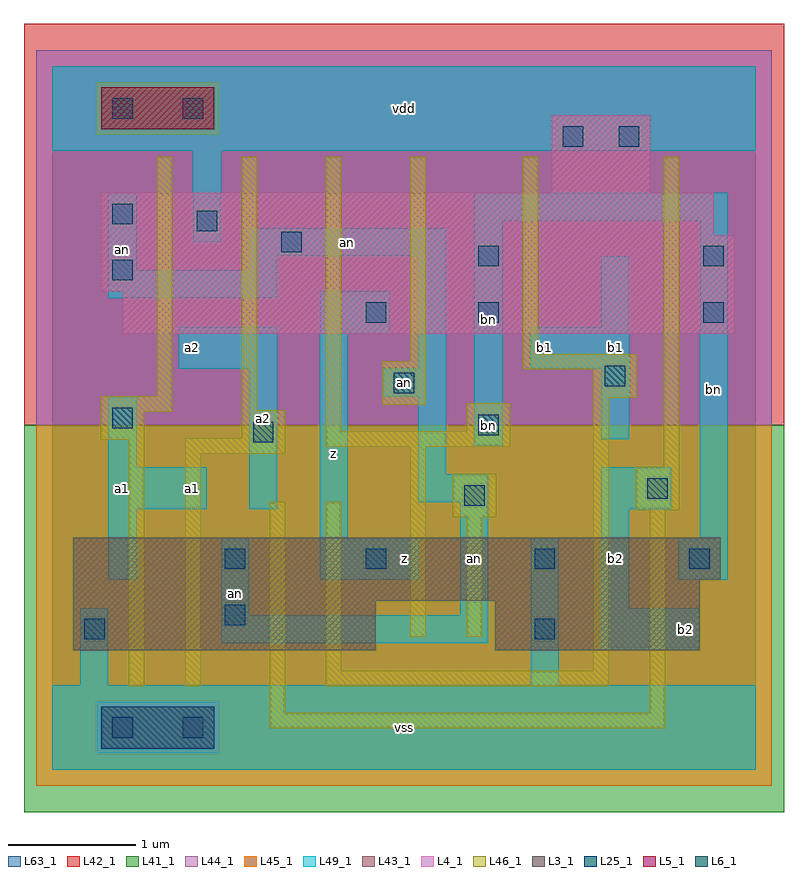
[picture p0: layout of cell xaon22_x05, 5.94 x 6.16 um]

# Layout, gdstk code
import gdstk
lib = gdstk.Library(unit=1e-6, precision=1e-09)
def R(c, l, rs):  # rectangles x0, y0, x1, y1
    for r in rs: c.add(gdstk.rectangle(r[:2], r[2:], *l))
L3_1 = (3, 1)
L4_1 = (4, 1)
L5_1 = (5, 1)
L6_1 = (6, 1)
L25_1 = (25, 1)
L41_1 = (41, 1)
L42_1 = (42, 1)
L43_1 = (43, 1)
L44_1 = (44, 1)
L45_1 = (45, 1)
L46_1 = (46, 1)
L49_1 = (49, 1)
L63_1 = (63, 1)

xaon22_x05 = lib.new_cell('xaon22_x05')
R(xaon22_x05, L3_1, [(0.165,0.935,2.53,1.32), (3.465,0.935,5.06,1.32), (0.165,1.32,5.06,1.485), (0.165,1.485,5.225,1.815)])
R(xaon22_x05, L4_1, [(0.55,3.41,5.335,3.74), (0.385,3.74,5.335,4.18), (0.385,4.18,5.17,4.51), (3.905,4.51,4.675,5.115)])
R(xaon22_x05, L5_1, [(0.385,5.005,1.265,5.335)])
R(xaon22_x05, L6_1, [(0.385,0.165,1.265,0.495)])
R(xaon22_x05, L25_1, [(0.47,0.25,0.63,0.41), (1.02,0.25,1.18,0.41), (0.25,1.02,0.41,1.18), (3.77,1.02,3.93,1.18), (1.35,1.13,1.51,1.29), (1.35,1.57,1.51,1.73), (2.45,1.57,2.61,1.73), (3.77,1.57,3.93,1.73), (4.98,1.57,5.14,1.73), (3.22,2.065,3.38,2.225), (4.65,2.12,4.81,2.28), (1.57,2.56,1.73,2.72), (3.33,2.615,3.49,2.775), (0.47,2.67,0.63,2.83), (2.67,2.945,2.83,3.105), (4.32,3,4.48,3.16), (2.45,3.495,2.61,3.655), (3.33,3.495,3.49,3.655), (5.09,3.495,5.25,3.655), (0.47,3.825,0.63,3.985), (3.33,3.935,3.49,4.095), (5.09,3.935,5.25,4.095), (1.79,4.045,1.95,4.205), (1.13,4.21,1.29,4.37), (0.47,4.265,0.63,4.425), (3.99,4.87,4.15,5.03), (4.43,4.87,4.59,5.03), (0.47,5.09,0.63,5.25), (1.02,5.09,1.18,5.25)])
R(xaon22_x05, L41_1, [(-0.22,-0.33,5.72,2.695)])
R(xaon22_x05, L42_1, [(-0.22,2.695,5.72,5.83)])
R(xaon22_x05, L43_1, [(0.385,0.165,1.265,0.495), (0.165,0.935,2.53,1.32), (3.465,0.935,5.06,1.32), (0.165,1.32,5.06,1.485), (0.165,1.485,5.225,1.815), (0.55,3.41,5.335,3.74), (0.385,3.74,5.335,4.18), (0.385,4.18,5.17,4.51), (3.905,4.51,4.675,5.115), (0.385,5.005,1.265,5.335)])
R(xaon22_x05, L44_1, [(0.345,0.125,1.305,0.535), (-0.125,2.695,5.625,4.965), (-0.125,4.965,0.345,5.375), (1.305,4.965,5.625,5.375), (-0.125,5.375,5.625,5.625)])
R(xaon22_x05, L45_1, [(-0.125,-0.125,5.625,0.125), (-0.125,0.125,0.345,0.535), (1.305,0.125,5.625,0.535), (-0.125,0.535,5.625,2.695), (0.345,4.965,1.305,5.375)])
R(xaon22_x05, L46_1, [(1.7,0.325,4.79,0.445), (1.7,0.445,1.82,2.095), (4.67,0.445,4.79,2.03), (0.6,0.655,0.72,2.58), (1.04,0.655,1.16,2.47), (2.14,0.655,4.35,0.775), (2.14,0.775,2.26,2.095), (4.23,0.775,4.35,2.91), (2.8,1.04,2.92,2.525), (3.24,1.04,3.36,1.975), (3.13,1.975,3.47,2.315), (4.56,2.03,4.9,2.37), (4.78,2.37,4.9,4.79), (1.04,2.47,1.82,2.59), (2.14,2.525,3.58,2.645), (0.38,2.58,0.72,2.8), (1.48,2.59,1.82,2.81), (2.14,2.645,2.26,4.79), (3.24,2.645,3.58,2.865), (0.38,2.8,0.94,2.92), (1.48,2.81,1.6,4.79), (2.58,2.855,2.92,3.195), (4.23,2.91,4.57,3.13), (0.82,2.92,0.94,4.79), (3.68,3.13,4.57,3.25), (2.8,3.195,2.92,4.79), (3.68,3.25,3.8,4.79)])
R(xaon22_x05, L49_1, [(0,0,5.5,0.66), (0.22,0.66,0.44,1.265), (3.74,0.66,3.96,1.815), (4.29,0.935,5.06,1.265), (1.32,0.99,3.41,1.21), (1.32,1.21,1.54,1.815), (3.19,1.21,3.41,2.09), (4.29,1.265,4.51,2.035), (0.44,1.485,0.66,2.035), (2.09,1.485,2.86,1.815), (4.895,1.485,5.28,1.815), (2.09,1.815,2.31,3.41), (5.06,1.815,5.28,4.29), (0.44,2.035,1.21,2.365), (1.54,2.035,1.76,3.135), (4.29,2.035,4.84,2.365), (2.86,2.09,3.41,2.31), (2.86,2.31,3.08,2.915), (0.44,2.365,0.66,2.915), (3.3,2.53,3.52,4.29), (4.29,2.585,4.51,3.135), (2.585,2.915,3.08,3.135), (0.99,3.135,1.76,3.465), (2.86,3.135,3.08,4.015), (3.74,3.135,4.51,3.465), (2.09,3.41,2.64,3.74), (4.29,3.465,4.51,4.015), (0.44,3.685,1.76,3.905), (0.44,3.905,0.66,4.51), (1.54,3.905,1.76,4.015), (1.54,4.015,3.08,4.235), (1.1,4.125,1.32,4.84), (3.3,4.29,5.28,4.51), (0,4.84,5.5,5.5)])
R(xaon22_x05, L63_1, [(0,0,5.5,5.5)])
xaon22_x05.add(gdstk.Label('an', (3.3,1.65), layer=46, texttype=1))
xaon22_x05.add(gdstk.Label('bn', (3.41,2.695), layer=49, texttype=1))
xaon22_x05.add(gdstk.Label('an', (2.75,3.025), layer=49, texttype=1))
xaon22_x05.add(gdstk.Label('a1', (0.55,2.2), layer=49, texttype=1))
xaon22_x05.add(gdstk.Label('a1', (0.55,2.2), layer=49, texttype=1))
xaon22_x05.add(gdstk.Label('an', (0.55,4.07), layer=49, texttype=1))
xaon22_x05.add(gdstk.Label('an', (1.43,1.375), layer=49, texttype=1))
xaon22_x05.add(gdstk.Label('a1', (1.1,2.2), layer=49, texttype=1))
xaon22_x05.add(gdstk.Label('a1', (1.1,2.2), layer=49, texttype=1))
xaon22_x05.add(gdstk.Label('a2', (1.65,2.75), layer=49, texttype=1))
xaon22_x05.add(gdstk.Label('a2', (1.65,2.75), layer=49, texttype=1))
xaon22_x05.add(gdstk.Label('a2', (1.1,3.3), layer=49, texttype=1))
xaon22_x05.add(gdstk.Label('a2', (1.1,3.3), layer=49, texttype=1))
xaon22_x05.add(gdstk.Label('vss', (2.75,0.33), layer=49, texttype=1))
xaon22_x05.add(gdstk.Label('vss', (2.75,0.33), layer=49, texttype=1))
xaon22_x05.add(gdstk.Label('z', (2.75,1.65), layer=49, texttype=1))
xaon22_x05.add(gdstk.Label('z', (2.75,1.65), layer=49, texttype=1))
xaon22_x05.add(gdstk.Label('z', (2.2,2.475), layer=49, texttype=1))
xaon22_x05.add(gdstk.Label('z', (2.2,2.475), layer=49, texttype=1))
xaon22_x05.add(gdstk.Label('an', (2.805,3.025), layer=49, texttype=1))
xaon22_x05.add(gdstk.Label('an', (2.31,4.125), layer=49, texttype=1))
xaon22_x05.add(gdstk.Label('vdd', (2.75,5.17), layer=49, texttype=1))
xaon22_x05.add(gdstk.Label('vdd', (2.75,5.17), layer=49, texttype=1))
xaon22_x05.add(gdstk.Label('an', (3.3,1.65), layer=49, texttype=1))
xaon22_x05.add(gdstk.Label('b1', (3.85,3.3), layer=49, texttype=1))
xaon22_x05.add(gdstk.Label('b1', (3.85,3.3), layer=49, texttype=1))
xaon22_x05.add(gdstk.Label('bn', (3.41,3.52), layer=49, texttype=1))
xaon22_x05.add(gdstk.Label('b2', (4.95,1.1), layer=49, texttype=1))
xaon22_x05.add(gdstk.Label('b2', (4.95,1.1), layer=49, texttype=1))
xaon22_x05.add(gdstk.Label('b2', (4.4,1.65), layer=49, texttype=1))
xaon22_x05.add(gdstk.Label('b2', (4.4,1.65), layer=49, texttype=1))
xaon22_x05.add(gdstk.Label('b1', (4.4,3.3), layer=49, texttype=1))
xaon22_x05.add(gdstk.Label('b1', (4.4,3.3), layer=49, texttype=1))
xaon22_x05.add(gdstk.Label('bn', (5.17,2.97), layer=49, texttype=1))

lib.write_gds('xaon22_x05.gds')
